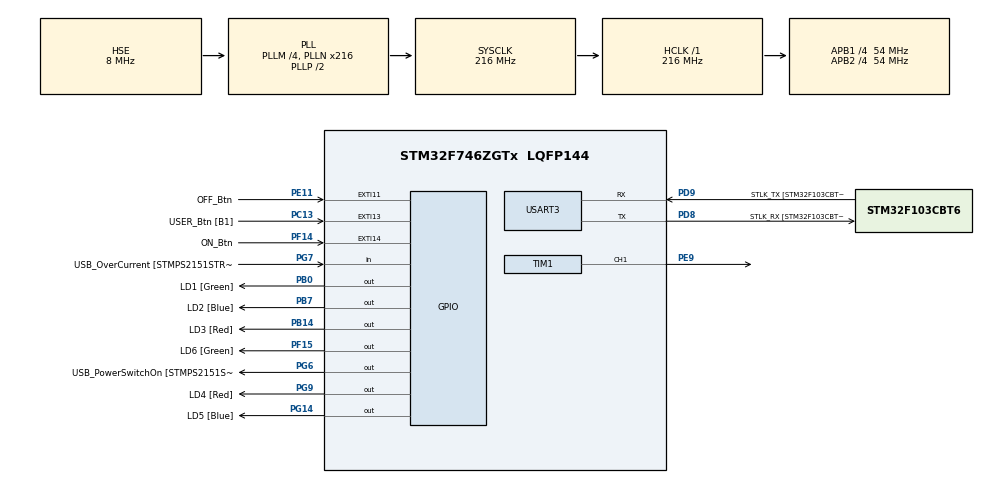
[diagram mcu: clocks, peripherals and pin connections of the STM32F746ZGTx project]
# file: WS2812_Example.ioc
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Dma.Request0=TIM1_CH1
Dma.TIM1_CH1.0.Direction=DMA_MEMORY_TO_PERIPH
Dma.TIM1_CH1.0.FIFOMode=DMA_FIFOMODE_DISABLE
Dma.TIM1_CH1.0.Instance=DMA2_Stream1
Dma.TIM1_CH1.0.MemDataAlignment=DMA_MDATAALIGN_HALFWORD
Dma.TIM1_CH1.0.MemInc=DMA_MINC_ENABLE
Dma.TIM1_CH1.0.Mode=DMA_NORMAL
Dma.TIM1_CH1.0.PeriphDataAlignment=DMA_PDATAALIGN_HALFWORD
Dma.TIM1_CH1.0.PeriphInc=DMA_PINC_DISABLE
Dma.TIM1_CH1.0.Priority=DMA_PRIORITY_LOW
Mcu.Family=STM32F7
Mcu.Name=STM32F746ZGTx
Mcu.Package=LQFP144
NVIC.DMA2_Stream1_IRQn=true\:0\:0\:false\:false\:true\:false\:true\:true
NVIC.EXTI15_10_IRQn=true\:0\:0\:false\:false\:true\:true\:true\:true
NVIC.PriorityGroup=NVIC_PRIORITYGROUP_4
NVIC.USART3_IRQn=true\:0\:0\:false\:false\:true\:true\:true\:true
PA1.GPIO_Label=RMII_REF_CLK [LAN8742A-CZ-TR_REFCLK0]
PA1.Signal=ETH_REF_CLK
PA10.GPIO_Label=USB_ID
PA10.Signal=USB_OTG_FS_ID
PA11.GPIO_Label=USB_DM
PA11.Signal=USB_OTG_FS_DM
PA12.GPIO_Label=USB_DP
PA12.Signal=USB_OTG_FS_DP
PA13.GPIO_Label=TMS
PA13.Mode=Serial_Wire
PA13.Signal=SYS_JTMS-SWDIO
PA14.GPIO_Label=TCK
PA14.Mode=Serial_Wire
PA14.Signal=SYS_JTCK-SWCLK
PA2.GPIO_Label=RMII_MDIO [LAN8742A-CZ-TR_MDIO]
PA2.Signal=ETH_MDIO
PA7.GPIO_Label=RMII_CRS_DV [LAN8742A-CZ-TR_CRS_DV]
PA7.Signal=ETH_CRS_DV
PA8.GPIO_Label=USB_SOF [TP1]
PA8.Signal=USB_OTG_FS_SOF
PA9.GPIO_Label=USB_VBUS
PA9.Signal=USB_OTG_FS_VBUS
PB0.GPIO_Label=LD1 [Green]
PB0.Signal=GPIO_Output
PB13.GPIO_Label=RMII_TXD1 [LAN8742A-CZ-TR_TXD1]
PB13.Signal=ETH_TXD1
PB14.GPIO_Label=LD3 [Red]
PB14.Signal=GPIO_Output
PB3.GPIO_Label=SW0
PB3.Signal=SYS_JTDO-SWO
PB7.GPIO_Label=LD2 [Blue]
PB7.Signal=GPIO_Output
PC1.GPIO_Label=RMII_MDC [LAN8742A-CZ-TR_MDC]
PC1.Signal=ETH_MDC
PC13.GPIO_Label=USER_Btn [B1]
PC13.Signal=GPXTI13
PC14/OSC32_IN.Mode=LSE-External-Oscillator
PC14/OSC32_IN.Signal=RCC_OSC32_IN
PC15/OSC32_OUT.Mode=LSE-External-Oscillator
PC15/OSC32_OUT.Signal=RCC_OSC32_OUT
PC4.GPIO_Label=RMII_RXD0 [LAN8742A-CZ-TR_RXD0]
PC4.Signal=ETH_RXD0
PC5.GPIO_Label=RMII_RXD1 [LAN8742A-CZ-TR_RXD1]
PC5.Signal=ETH_RXD1
PD8.GPIO_Label=STLK_RX [STM32F103CBT6_PA3]
PD8.GPIO_PuPd=GPIO_PULLUP
PD8.Mode=Asynchronous
PD8.Signal=USART3_TX
PD9.GPIO_Label=STLK_TX [STM32F103CBT6_PA2]
PD9.GPIO_PuPd=GPIO_PULLUP
PD9.Mode=Asynchronous
PD9.Signal=USART3_RX
PE11.GPIO_Label=OFF_Btn
PE11.GPIO_PuPd=GPIO_PULLDOWN
PE11.Signal=GPXTI11
PE9.GPIO_Speed=GPIO_SPEED_FREQ_VERY_HIGH
PE9.Signal=S_TIM1_CH1
PF14.GPIO_Label=ON_Btn
PF14.GPIO_ModeDefaultEXTI=GPIO_MODE_IT_FALLING
PF14.GPIO_PuPd=GPIO_PULLUP
PF14.Signal=GPXTI14
PF15.GPIO_Label=LD6 [Green]
PF15.Signal=GPIO_Output
PG11.GPIO_Label=RMII_TX_EN [LAN8742A-CZ-TR_TXEN]
PG11.Signal=ETH_TX_EN
PG13.GPIO_Label=RMII_TXD0 [LAN8742A-CZ-TR_TXD0]
PG13.Signal=ETH_TXD0
PG14.GPIO_Label=LD5 [Blue]
PG14.Signal=GPIO_Output
PG6.GPIO_Label=USB_PowerSwitchOn [STMPS2151STR_EN]
PG6.Signal=GPIO_Output
PG7.GPIO_Label=USB_OverCurrent [STMPS2151STR_FAULT]
PG7.Signal=GPIO_Input
PG9.GPIO_Label=LD4 [Red]
PG9.Signal=GPIO_Output
PH0/OSC_IN.GPIO_Label=MCO [STM32F103CBT6_PA8]
PH0/OSC_IN.Mode=HSE-External-Clock-Source
PH0/OSC_IN.Signal=RCC_OSC_IN
PH1/OSC_OUT.Mode=HSE-External-Clock-Source
PH1/OSC_OUT.Signal=RCC_OSC_OUT
ProjectManager.HeapSize=0x200
ProjectManager.StackSize=0x400
ProjectManager.TargetToolchain=STM32CubeIDE
RCC.48MHZClocksFreq_Value=24000000
RCC.AHBFreq_Value=216000000
RCC.APB1CLKDivider=RCC_HCLK_DIV4
RCC.APB1Freq_Value=54000000
RCC.APB1TimFreq_Value=108000000
RCC.APB2CLKDivider=RCC_HCLK_DIV4
RCC.APB2Freq_Value=54000000
RCC.APB2TimFreq_Value=108000000
RCC.CortexFreq_Value=216000000
RCC.HCLKFreq_Value=216000000
RCC.HSE_VALUE=8000000
RCC.HSI_VALUE=16000000
RCC.PLLM=4
RCC.PLLMUL=RCC_PLL_MUL9
RCC.PLLN=216
RCC.PLLQ=3
RCC.PLLSourceVirtual=RCC_PLLSOURCE_HSE
RCC.PRESCALERUSB=RCC_USBCLKSOURCE_PLL_DIV1_5
RCC.SYSCLKFreq_VALUE=216000000
RCC.SYSCLKSource=RCC_SYSCLKSOURCE_PLLCLK
RCC.SYSCLKSourceVirtual=RCC_SYSCLKSOURCE_PLLCLK
RCC.USBFreq_Value=144000000
RCC.VCOOutputFreq_Value=432000000
SH.S_TIM1_CH1.0=TIM1_CH1,PWM Generation1 CH1
TIM1.Channel-PWM\ Generation1\ CH1=TIM_CHANNEL_1
TIM1.OCFastMode_PWM-PWM\ Generation1\ CH1=TIM_OCFAST_ENABLE
TIM1.Period=134
USART3.VirtualMode-Asynchronous=VM_ASYNC
VP_TIM1_VS_ClockSourceINT.Mode=Internal
board=NUCLEO-F746ZG

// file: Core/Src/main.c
/* USER CODE BEGIN Header */
/**
  ******************************************************************************
  * @file           : main.c
  * @brief          : Main program body
  ******************************************************************************
  * @attention
  *
  * Copyright (c) 2023 STMicroelectronics.
  * All rights reserved.
  *
  * This software is licensed under terms that can be found in the LICENSE file
  * in the root directory of this software component.
  * If no LICENSE file comes with this software, it is provided AS-IS.
  *
  ******************************************************************************
  */
/* USER CODE END Header */
#include "main.h"
#include "dma.h"
#include "tim.h"
#include "usart.h"
#include "gpio.h"

/* USER CODE BEGIN Includes */
#include <stdio.h>
#include <math.h>
#include "led.h"
/* USER CODE END Includes */

LED_WS2812_HANDLE_CONSTRUCTOR(hldln1, 8*3, &htim1, TIM_CHANNEL_1);

uint8_t tx_buffer[32];
uint32_t tx_msg_len = 3;
/* USER CODE END PV */

void SystemClock_Config(void);

/* USER CODE BEGIN 0 */

/**
  * @brief  PWM Pulse finished callback in non-blocking mode
  * @param  htim TIM handle
  * @retval None
  */
void HAL_TIM_PWM_PulseFinishedCallback(TIM_HandleTypeDef *htim)
{
	if(htim == hldln1.Timer)
	  LED_WS2812_Callback(&hldln1);
}

/**
  * @brief  EXTI line detection callbacks.
  * @param  GPIO_Pin Specifies the pins connected EXTI line
  * @retval None
  */
void HAL_GPIO_EXTI_Callback(uint16_t GPIO_Pin)
{
  if(GPIO_Pin == USER_Btn_Pin)
	  LED_WS2812_Update(&hldln1);
}

/**
  * @brief  Rx Transfer completed callback.
  * @param  huart UART handle.
  * @retval None
  */
void HAL_UART_RxCpltCallback(UART_HandleTypeDef *huart)
{
  if(huart == &huart3)
  {
    unsigned int pos;
    sscanf((char*)tx_buffer, "%u", &pos);

    static const unsigned int max = 0x55;

    for(int i = 0; i < hldln1.N; i++)
    {
      float pwr = fmax(0.0f, fmin(1.0f, ((float)pos / (180.0f/24.0f)) - i));

      unsigned int R,G;
      R = pos * (pwr*max) / 180;
      G = (180-pos) * (pwr*max) / 180;
      LED_WS2812_WriteColor_RGB(&hldln1, i, (R << 16) | (G << 8));
    }

    LED_WS2812_Update(&hldln1);
    HAL_UART_Receive_IT(&huart3, tx_buffer, tx_msg_len);
  }
}
/* USER CODE END 0 */

int main(void)
{

  /* MCU Configuration--------------------------------------------------------*/

  /* Reset of all peripherals, Initializes the Flash interface and the Systick. */
  HAL_Init();

  /* Configure the system clock */
  SystemClock_Config();

  /* Initialize all configured peripherals */
  MX_GPIO_Init();
  MX_DMA_Init();
  MX_USART3_UART_Init();
  MX_TIM1_Init();
  /* USER CODE BEGIN 2 */
  for(int i = 0; i < hldln1.N; i++)
    LED_WS2812_WriteColor_RGB(&hldln1, i, 0x000000);
  LED_WS2812_Update(&hldln1);

  HAL_UART_Receive_IT(&huart3, tx_buffer, tx_msg_len);
  /* USER CODE END 2 */

  /* Infinite loop */
  while (1)
  {

  }
}

void SystemClock_Config(void)
{
  RCC_OscInitTypeDef RCC_OscInitStruct = {0};
  RCC_ClkInitTypeDef RCC_ClkInitStruct = {0};

  /** Configure LSE Drive Capability
  */
  HAL_PWR_EnableBkUpAccess();

  /** Configure the main internal regulator output voltage
  */
  __HAL_RCC_PWR_CLK_ENABLE();
  __HAL_PWR_VOLTAGESCALING_CONFIG(PWR_REGULATOR_VOLTAGE_SCALE1);

  /** Initializes the RCC Oscillators according to the specified parameters
  * in the RCC_OscInitTypeDef structure.
  */
  RCC_OscInitStruct.OscillatorType = RCC_OSCILLATORTYPE_HSE;
  RCC_OscInitStruct.HSEState = RCC_HSE_BYPASS;
  RCC_OscInitStruct.PLL.PLLState = RCC_PLL_ON;
  RCC_OscInitStruct.PLL.PLLSource = RCC_PLLSOURCE_HSE;
  RCC_OscInitStruct.PLL.PLLM = 4;
  RCC_OscInitStruct.PLL.PLLN = 216;
  RCC_OscInitStruct.PLL.PLLP = RCC_PLLP_DIV2;
  RCC_OscInitStruct.PLL.PLLQ = 3;
  if (HAL_RCC_OscConfig(&RCC_OscInitStruct) != HAL_OK)
  {
    Error_Handler();
  }

  /** Activate the Over-Drive mode
  */
  if (HAL_PWREx_EnableOverDrive() != HAL_OK)
  {
    Error_Handler();
  }

  /** Initializes the CPU, AHB and APB buses clocks
  */
  RCC_ClkInitStruct.ClockType = RCC_CLOCKTYPE_HCLK|RCC_CLOCKTYPE_SYSCLK
                              |RCC_CLOCKTYPE_PCLK1|RCC_CLOCKTYPE_PCLK2;
  RCC_ClkInitStruct.SYSCLKSource = RCC_SYSCLKSOURCE_PLLCLK;
  RCC_ClkInitStruct.AHBCLKDivider = RCC_SYSCLK_DIV1;
  RCC_ClkInitStruct.APB1CLKDivider = RCC_HCLK_DIV4;
  RCC_ClkInitStruct.APB2CLKDivider = RCC_HCLK_DIV4;

  if (HAL_RCC_ClockConfig(&RCC_ClkInitStruct, FLASH_LATENCY_7) != HAL_OK)
  {
    Error_Handler();
  }
}

void Error_Handler(void)
{
  __disable_irq();
  while (1)
  {
  }
}
